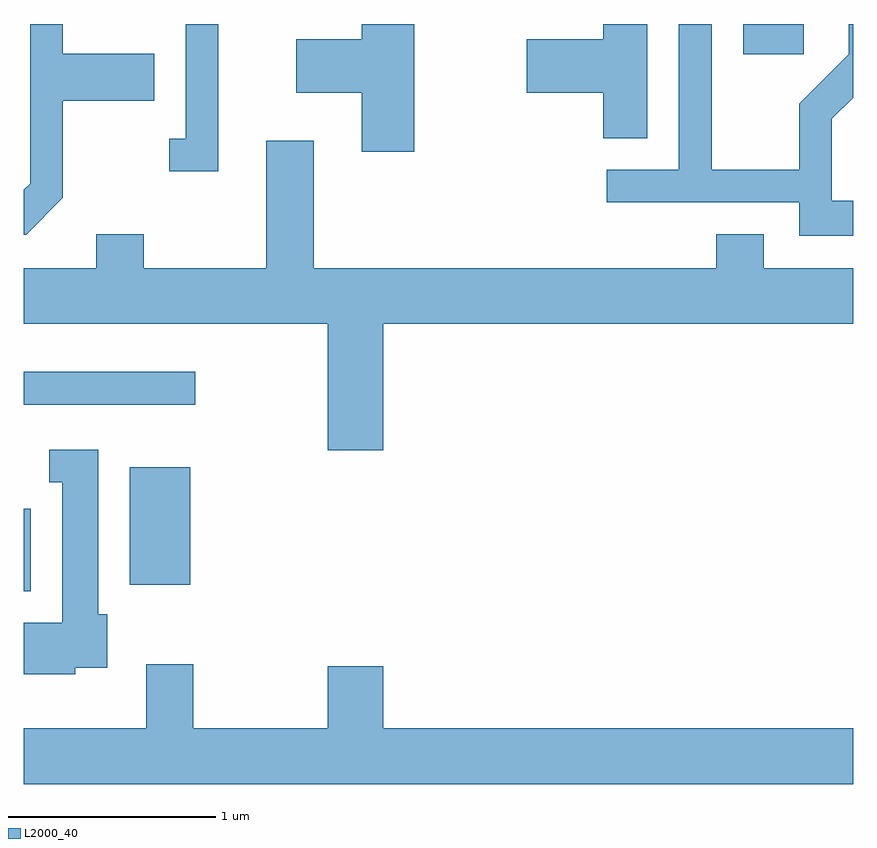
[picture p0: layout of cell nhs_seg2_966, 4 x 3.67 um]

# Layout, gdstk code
import gdstk
lib = gdstk.Library(unit=1e-6, precision=1e-09)
def R(c, l, rs):  # rectangles x0, y0, x1, y1
    for r in rs: c.add(gdstk.rectangle(r[:2], r[2:], *l))
def P(c, l, *ps):  # polygons
    for p in ps: c.add(gdstk.Polygon(p, *l))
L2000_40 = (2000, 40)

nhs_seg2_966 = lib.new_cell('nhs_seg2_966')
R(nhs_seg2_966, L2000_40, [(213.611,1007.066,213.644,1007.464), (214.121,1007.096,214.414,1007.664), (213.611,1007.966,214.438,1008.124), (217.081,1009.656,217.374,1009.802)])
P(nhs_seg2_966, L2000_40, [(215.494,1009.802),(215.241,1009.802),(215.241,1009.729),(214.926,1009.729),(214.926,1009.471),(215.241,1009.471),(215.241,1009.186),(215.494,1009.186)],
  [(216.619,1009.802),(216.406,1009.802),(216.406,1009.729),(216.036,1009.729),(216.036,1009.471),(216.406,1009.471),(216.406,1009.251),(216.619,1009.251)],
  [(217.611,1008.949),(217.509,1008.949),(217.509,1009.344),(217.611,1009.446),(217.611,1009.802),(217.591,1009.802),(217.591,1009.657),(217.351,1009.417),(217.351,1009.099),(216.929,1009.099),(216.929,1009.802),(216.771,1009.802),(216.771,1009.099),(216.423,1009.099),(216.423,1008.941),(217.351,1008.941),(217.351,1008.781),(217.611,1008.781)],
  [(214.549,1009.802),(214.391,1009.802),(214.391,1009.249),(214.313,1009.249),(214.313,1009.091),(214.549,1009.091)],
  [(213.799,1008.964),(213.799,1009.431),(214.239,1009.431),(214.239,1009.659),(213.799,1009.659),(213.799,1009.802),(213.641,1009.802),(213.641,1009.032),(213.611,1009.002),(213.611,1008.786),(213.622,1008.786)],
  [(215.344,1008.356),(217.611,1008.356),(217.611,1008.624),(217.179,1008.624),(217.179,1008.789),(216.951,1008.789),(216.951,1008.624),(215.009,1008.624),(215.009,1009.239),(214.781,1009.239),(214.781,1008.624),(214.189,1008.624),(214.189,1008.789),(213.961,1008.789),(213.961,1008.624),(213.611,1008.624),(213.611,1008.356),(215.076,1008.356),(215.076,1007.746),(215.344,1007.746)],
  [(213.859,1006.696),(214.014,1006.696),(214.014,1006.954),(213.969,1006.954),(213.969,1007.749),(213.733,1007.749),(213.733,1007.591),(213.796,1007.591),(213.796,1006.914),(213.611,1006.914),(213.611,1006.666),(213.859,1006.666)],
  [(215.076,1006.704),(215.076,1006.404),(214.429,1006.404),(214.429,1006.714),(214.201,1006.714),(214.201,1006.404),(213.611,1006.404),(213.611,1006.136),(217.611,1006.136),(217.611,1006.404),(215.344,1006.404),(215.344,1006.704)])

lib.write_gds('nhs_seg2_966.gds')
